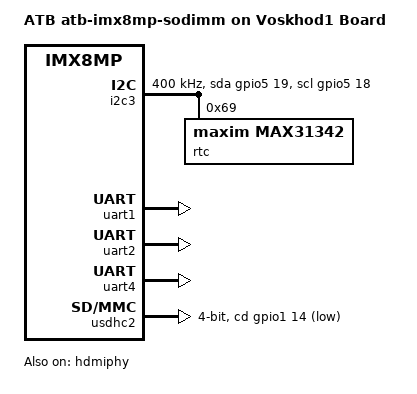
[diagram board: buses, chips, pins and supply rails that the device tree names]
// SPDX-License-Identifier: (GPL-2.0+ OR MIT)
/*
 * Copyright 2019 NXP
 * Copyright 2020-2021 Variscite Ltd.
 * Copyright 2022 ATB Electronics.
 */

/dts-v1/;

#include "atb-imx8mp-sodimm.dtsi"


/ {
		model = "ATB atb-imx8mp-sodimm on Voskhod1 Board";

		chosen {
			stdout-path = &uart2;
		};
};

&i2c3 {
	clock-frequency = <400000>;
	pinctrl-names = "default", "gpio";
	pinctrl-0 = <&pinctrl_i2c3>;
	pinctrl-1 = <&pinctrl_i2c3_gpio>;
	scl-gpios = <&gpio5 18 GPIO_ACTIVE_HIGH>;
	sda-gpios = <&gpio5 19 GPIO_ACTIVE_HIGH>;
	status = "okay";

	/* MAX31342 RTC module */
	rtc@69 {
		compatible = "maxim,max31342";
		reg = <0x69>;
		status = "okay";
	};
};

&hdmiphy {
	status = "okay";
};

/* Header */
&uart1 {
	pinctrl-names = "default";
	pinctrl-0 = <&pinctrl_uart1>;
	status = "okay";
};

/* Console */
&uart2 {
	pinctrl-names = "default";
	pinctrl-0 = <&pinctrl_uart2>;
	status = "okay";
};

/* Header */
&uart4 {
	pinctrl-names = "default";
	pinctrl-0 = <&pinctrl_uart4>;
	status = "okay";
};

&usdhc2 {
	pinctrl-names = "default", "state_100mhz", "state_200mhz";
	pinctrl-0 = <&pinctrl_usdhc2>, <&pinctrl_usdhc2_gpio>;
	pinctrl-1 = <&pinctrl_usdhc2_100mhz>, <&pinctrl_usdhc2_gpio>;
	pinctrl-2 = <&pinctrl_usdhc2_200mhz>, <&pinctrl_usdhc2_gpio>;
	/* SDHC_CD */
	cd-gpios = <&gpio1 14 GPIO_ACTIVE_LOW>;
	bus-width = <4>;
	status = "okay";
};

&iomuxc {
	pinctrl-names = "default";
	
	pinctrl_i2c3: i2c3grp {
		fsl,pins = <
			/* I2C3_SCL */
			MX8MP_IOMUXC_I2C3_SCL__I2C3_SCL			 (0x40000000 + PAD_PULL_ENABLE | PAD_INPUT_SCHMITT | PAD_WEAK_PULL_UP | PAD_DSE_X4) /*0x400001c2*/
			/* I2C3_SDA */
			MX8MP_IOMUXC_I2C3_SDA__I2C3_SDA			 (0x40000000 + PAD_PULL_ENABLE | PAD_INPUT_SCHMITT | PAD_WEAK_PULL_UP | PAD_DSE_X4)
		>;
	};

	pinctrl_i2c3_gpio: i2c3gpiogrp {
		fsl,pins = <
			/* I2C3_SCL */
			MX8MP_IOMUXC_I2C3_SCL__GPIO5_IO18			 (PAD_PULL_ENABLE | PAD_INPUT_SCHMITT | PAD_WEAK_PULL_UP | PAD_DSE_X4) /* 0x1c2 */
			/* I2C3_SDA */
			MX8MP_IOMUXC_I2C3_SDA__GPIO5_IO19			 (PAD_PULL_ENABLE | PAD_INPUT_SCHMITT | PAD_WEAK_PULL_UP | PAD_DSE_X4)
		>;
	};

	pinctrl_uart1: uart1grp {
		fsl,pins = <
			/* UART1_RX */
			MX8MP_IOMUXC_UART1_RXD__UART1_DCE_RX			 (0x0)
			/* UART1_TX */
			MX8MP_IOMUXC_UART1_TXD__UART1_DCE_TX			 (0x0)
		>;
	};

	pinctrl_uart2: uart2grp {
		fsl,pins = <
			/* UART2_RX */
			MX8MP_IOMUXC_UART2_RXD__UART2_DCE_RX			 (0x0)
			/* UART2_TX */
			MX8MP_IOMUXC_UART2_TXD__UART2_DCE_TX			 (0x0)
		>;
	};

	pinctrl_uart4: uart4grp {
		fsl,pins = <
			/* UART4_RX */
			MX8MP_IOMUXC_UART4_RXD__UART4_DCE_RX			 (0x0)
			/* UART4_TX */
			MX8MP_IOMUXC_UART4_TXD__UART4_DCE_TX			 (0x0)
		>;
	};

	pinctrl_usdhc2_gpio: usdhc2grp-gpio {
		fsl,pins = <
			/* SDHC_CD */
			MX8MP_IOMUXC_GPIO1_IO14__GPIO1_IO14			 (PAD_PULL_ENABLE | PAD_WEAK_PULL_DOWN | PAD_SLOW_SLEW_RATE | PAD_DSE_X1)
			/* SD_EN */
			MX8MP_IOMUXC_SAI2_RXC__GPIO4_IO22			 (PAD_PULL_ENABLE | PAD_WEAK_PULL_DOWN | PAD_SLOW_SLEW_RATE | PAD_DSE_X1)
		>;
	};

	pinctrl_usdhc2: usdhc2grp {
		fsl,pins = <
			MX8MP_IOMUXC_SD2_CLK__USDHC2_CLK			 (PAD_PULL_ENABLE | PAD_INPUT_SCHMITT | PAD_FAST_SLEW_RATE) /* 0x190 */
			MX8MP_IOMUXC_SD2_CMD__USDHC2_CMD			 (PAD_PULL_ENABLE | PAD_INPUT_SCHMITT | PAD_WEAK_PULL_UP |PAD_FAST_SLEW_RATE) /* 0x1d0 */
			MX8MP_IOMUXC_SD2_DATA0__USDHC2_DATA0			 (PAD_PULL_ENABLE | PAD_INPUT_SCHMITT | PAD_WEAK_PULL_UP |PAD_FAST_SLEW_RATE)
			MX8MP_IOMUXC_SD2_DATA1__USDHC2_DATA1			 (PAD_PULL_ENABLE | PAD_INPUT_SCHMITT | PAD_WEAK_PULL_UP |PAD_FAST_SLEW_RATE)
			MX8MP_IOMUXC_SD2_DATA2__USDHC2_DATA2			 (PAD_PULL_ENABLE | PAD_INPUT_SCHMITT | PAD_WEAK_PULL_UP |PAD_FAST_SLEW_RATE)
			MX8MP_IOMUXC_SD2_DATA3__USDHC2_DATA3			 (PAD_PULL_ENABLE | PAD_INPUT_SCHMITT | PAD_WEAK_PULL_UP |PAD_FAST_SLEW_RATE)
		>;
	};

	pinctrl_usdhc2_100mhz: usdhc2grp-100mhz {
		fsl,pins = <
			MX8MP_IOMUXC_SD2_CLK__USDHC2_CLK			  (PAD_PULL_ENABLE | PAD_INPUT_SCHMITT | PAD_FAST_SLEW_RATE | PAD_DSE_X2) /* 0x194 */
			MX8MP_IOMUXC_SD2_CMD__USDHC2_CMD			  (PAD_PULL_ENABLE | PAD_INPUT_SCHMITT | PAD_WEAK_PULL_UP |PAD_FAST_SLEW_RATE | PAD_DSE_X2) /* 0x1d4 */
			MX8MP_IOMUXC_SD2_DATA0__USDHC2_DATA0			 (PAD_PULL_ENABLE | PAD_INPUT_SCHMITT | PAD_WEAK_PULL_UP |PAD_FAST_SLEW_RATE | PAD_DSE_X2)
			MX8MP_IOMUXC_SD2_DATA1__USDHC2_DATA1			 (PAD_PULL_ENABLE | PAD_INPUT_SCHMITT | PAD_WEAK_PULL_UP |PAD_FAST_SLEW_RATE | PAD_DSE_X2)
			MX8MP_IOMUXC_SD2_DATA2__USDHC2_DATA2			 (PAD_PULL_ENABLE | PAD_INPUT_SCHMITT | PAD_WEAK_PULL_UP |PAD_FAST_SLEW_RATE | PAD_DSE_X2)
			MX8MP_IOMUXC_SD2_DATA3__USDHC2_DATA3			 (PAD_PULL_ENABLE | PAD_INPUT_SCHMITT | PAD_WEAK_PULL_UP |PAD_FAST_SLEW_RATE | PAD_DSE_X2)
		>;
	};

	pinctrl_usdhc2_200mhz: usdhc2grp-200mhz {
		fsl,pins = <
			MX8MP_IOMUXC_SD2_CLK__USDHC2_CLK			 (PAD_PULL_ENABLE | PAD_INPUT_SCHMITT | PAD_FAST_SLEW_RATE | PAD_DSE_X6) /* 0x196 */
			MX8MP_IOMUXC_SD2_CMD__USDHC2_CMD			 (PAD_PULL_ENABLE | PAD_INPUT_SCHMITT | PAD_WEAK_PULL_UP |PAD_FAST_SLEW_RATE | PAD_DSE_X6) /* 0x1d6 */
			MX8MP_IOMUXC_SD2_DATA0__USDHC2_DATA0			 (PAD_PULL_ENABLE | PAD_INPUT_SCHMITT | PAD_WEAK_PULL_UP |PAD_FAST_SLEW_RATE | PAD_DSE_X6)
			MX8MP_IOMUXC_SD2_DATA1__USDHC2_DATA1			 (PAD_PULL_ENABLE | PAD_INPUT_SCHMITT | PAD_WEAK_PULL_UP |PAD_FAST_SLEW_RATE | PAD_DSE_X6)
			MX8MP_IOMUXC_SD2_DATA2__USDHC2_DATA2			 (PAD_PULL_ENABLE | PAD_INPUT_SCHMITT | PAD_WEAK_PULL_UP |PAD_FAST_SLEW_RATE | PAD_DSE_X6)
			MX8MP_IOMUXC_SD2_DATA3__USDHC2_DATA3			 (PAD_PULL_ENABLE | PAD_INPUT_SCHMITT | PAD_WEAK_PULL_UP |PAD_FAST_SLEW_RATE | PAD_DSE_X6)
		>;
	};
};
